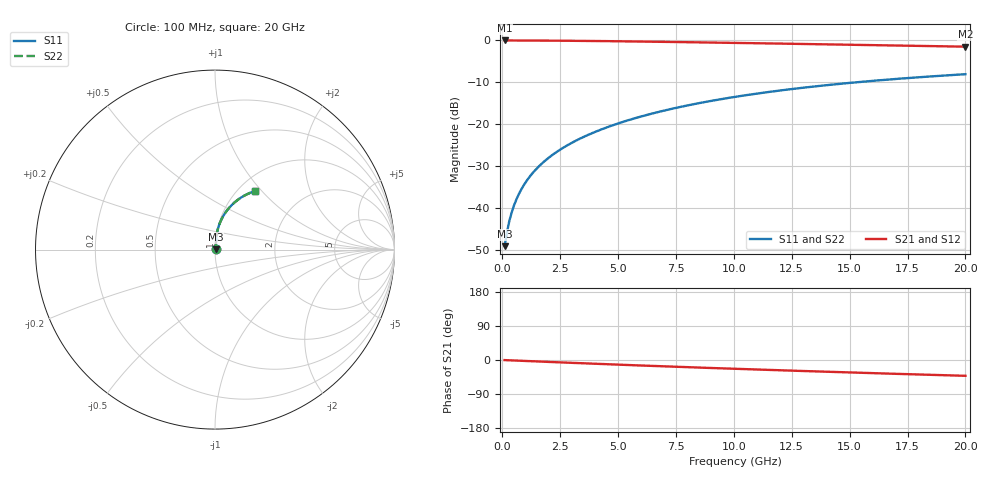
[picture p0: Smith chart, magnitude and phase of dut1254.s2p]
! Touchstone file exported from HFSS 2024.1.0
!  File:  C:/UserFiles/LocalFiles/RDL_TSV_Batchsim/temp_RDL_top_1254_1780241520.aedt
!  Generated:  11:34:15 PM May 31, 2026
!  Design:  RDL_top
!  Project:  temp_RDL_top_1254_1780241520
!  Setup:  Setup1
!  Solution:  Sweep
! Variables:
!  dtsv = 10.80580581um
!  hbump = 3um
!  htsv = 86.18um
!  ldown = 100um
!  lrdl = 556.79um
!  p = 40
!  p1 = 57.06um
!  rhole = 1um
!  t = 450um
!  tdown = 3.915915916um
!  trdl = 3.41um
!  wdown = 15.38538539um
!  wrdl = 22.37um
# GHz S MA R 50.000000
! Terminal data exported
! Port[1] = Box2_T1
! Port[2] = Box2_T2
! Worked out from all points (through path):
!   200 points, 100 MHz to 20 GHz, reference 50 ohm
!   highest |S21| = -0.02 dB at 100 MHz (marker M1); lowest = -1.5 dB at 20 GHz (marker M2)
!   group delay of S21, straight-line fit = 5.75 ps
!   lowest |S11| = -49.1 dB at 100 MHz (marker M3), VSWR 1.01, Z = 50.3 + j0.216 ohm
!   |S11| at or under -10 dB: start of sweep to 15.29 GHz
!   |S22| runs from -49.1 to -8.1 dB; largest |S21 - S12| = 2.2e-15
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0.1  0.003518 37.6  0.9972 -0.3  0.9972 -0.3  0.003518 37.6
! Gamma 0 0 0 0
! Port Impedance 50 0 50 0
0.2  0.005133 55.4  0.9971 -0.5  0.9971 -0.5  0.005133 55.4
0.3  0.006941 63.9  0.9969 -0.8  0.9969 -0.8  0.006941 63.9
0.4  0.008788 68.8  0.9967 -1.0  0.9967 -1.0  0.008788 68.8
0.5  0.01065 72.0  0.9965 -1.3  0.9965 -1.3  0.01065 72.0
0.6  0.01253 74.4  0.9963 -1.5  0.9963 -1.5  0.01253 74.4
0.8  0.01631 77.6  0.996 -2.0  0.996 -2.0  0.01631 77.6
1.1  0.02208 80.3  0.9954 -2.8  0.9954 -2.8  0.02208 80.3
1.5  0.02988 82.3  0.9943 -3.8  0.9943 -3.8  0.02988 82.3
1.8  0.0358 83.1  0.9934 -4.6  0.9934 -4.6  0.0358 83.1
2.1  0.04177 83.6  0.9923 -5.3  0.9923 -5.3  0.04178 83.6
2.7  0.05388 84.1  0.9897 -6.8  0.9897 -6.8  0.05389 84.1
3.5  0.07035 84.1  0.9854 -8.7  0.9854 -8.7  0.07036 84.1
4.2  0.08505 83.6  0.981 -10.4  0.981 -10.4  0.08506 83.6
5  0.1021 82.8  0.9754 -12.3  0.9754 -12.3  0.1022 82.8
6.8  0.1413 80.3  0.9612 -16.3  0.9612 -16.3  0.1413 80.3
8.4  0.1763 77.6  0.9475 -19.8  0.9475 -19.8  0.1764 77.6
10.1  0.213 74.4  0.9323 -23.3  0.9323 -23.3  0.213 74.3
11.7  0.2465 71.2  0.9177 -26.5  0.9177 -26.5  0.2465 71.2
13.4  0.2805 67.9  0.9019 -29.8  0.9019 -29.8  0.2805 67.9
16.7  0.3414 61.6  0.8711 -36.0  0.8711 -36.0  0.3414 61.6
20  0.3948 55.6  0.8406 -41.7  0.8406 -41.7  0.3948 55.6
